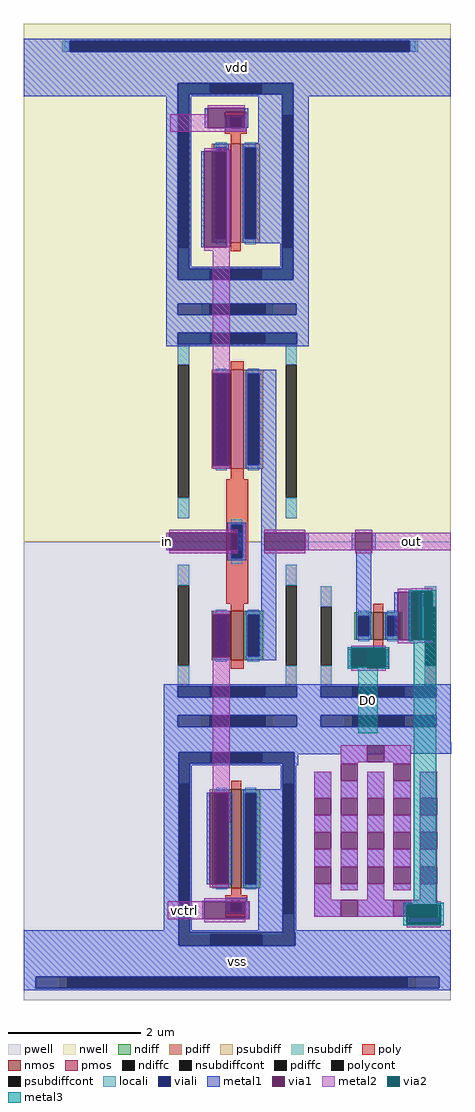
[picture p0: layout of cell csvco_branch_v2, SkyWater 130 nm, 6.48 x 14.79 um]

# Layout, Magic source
magic
tech sky130A
magscale 1 2
<< nwell >>
rect -363 387 931 1955
<< pwell >>
rect -363 -680 931 387
rect -363 -771 162 -680
rect 184 -771 931 -680
rect -363 -1002 931 -771
<< psubdiff >>
rect 608 -174 632 -140
rect 790 -174 814 -140
rect -255 -966 -231 -932
rect 799 -966 823 -932
<< nsubdiff >>
rect -247 1871 -223 1905
rect 807 1871 831 1905
<< psubdiffcont >>
rect 632 -174 790 -140
rect -231 -966 799 -932
<< nsubdiffcont >>
rect -223 1871 807 1905
<< locali >>
rect -239 1871 -223 1905
rect 807 1871 823 1905
<< viali >>
rect -223 1871 807 1905
rect 104 1742 454 1776
rect 104 1214 138 1742
rect 420 1214 454 1742
rect 104 1180 454 1214
rect 536 -85 886 -51
rect 536 -174 632 -140
rect 632 -174 790 -140
rect 790 -174 886 -140
rect 106 -285 456 -251
rect 106 -796 140 -285
rect 422 -796 456 -285
rect 106 -837 459 -796
rect -327 -966 -231 -932
rect -231 -966 799 -932
rect 799 -966 895 -932
<< metal1 >>
rect -363 1905 931 1911
rect -363 1871 -223 1905
rect 807 1871 931 1905
rect -363 1776 931 1871
rect -363 1736 104 1776
rect 68 1180 104 1736
rect 138 1736 420 1742
rect 138 1220 144 1736
rect 185 1641 195 1699
rect 307 1641 317 1699
rect 247 1630 311 1641
rect 347 1595 420 1736
rect 174 1278 184 1569
rect 252 1278 262 1569
rect 342 1291 420 1595
rect 414 1220 420 1291
rect 138 1214 420 1220
rect 454 1736 931 1776
rect 454 1180 500 1736
rect 68 1108 500 1180
rect 209 897 261 907
rect 209 607 261 617
rect 68 361 78 413
rect 286 361 296 413
rect 356 361 366 413
rect 490 361 500 413
rect 631 361 641 413
rect 693 361 703 413
rect 209 167 261 177
rect 644 173 690 361
rect 760 89 770 234
rect 831 89 841 234
rect 209 27 261 37
rect 619 8 629 60
rect 733 8 743 60
rect 61 -174 81 -45
rect 500 -51 931 -45
rect 500 -85 536 -51
rect 886 -85 931 -51
rect 500 -140 931 -85
rect 500 -174 536 -140
rect 886 -174 931 -140
rect 61 -220 931 -174
rect 61 -251 932 -220
rect 61 -790 106 -251
rect 456 -256 932 -251
rect 456 -257 737 -256
rect -363 -837 106 -790
rect 140 -291 422 -285
rect 140 -790 146 -291
rect 416 -364 422 -291
rect 191 -651 201 -374
rect 258 -651 268 -374
rect 249 -701 313 -692
rect 178 -704 313 -701
rect 178 -756 184 -704
rect 308 -756 318 -704
rect 347 -790 422 -364
rect 140 -796 422 -790
rect 456 -291 468 -257
rect 456 -790 462 -291
rect 456 -796 931 -790
rect 459 -837 931 -796
rect -363 -932 931 -837
rect -363 -966 -327 -932
rect 895 -966 931 -932
rect -363 -972 931 -966
<< via1 >>
rect 195 1641 307 1699
rect 184 1278 252 1569
rect 209 617 261 897
rect 78 361 286 413
rect 366 361 490 413
rect 641 361 693 413
rect 209 37 261 167
rect 770 89 831 234
rect 629 8 733 60
rect 201 -651 258 -374
rect 184 -756 308 -704
<< metal2 >>
rect 195 1699 307 1709
rect 80 1641 195 1682
rect 307 1641 312 1682
rect 80 1629 312 1641
rect 184 1574 252 1579
rect 184 1569 261 1574
rect 252 1278 261 1569
rect 184 1268 261 1278
rect 209 897 261 1268
rect 209 607 261 617
rect 78 413 286 423
rect 68 361 78 413
rect 78 351 286 361
rect 366 413 490 423
rect 641 413 693 423
rect 490 361 641 413
rect 693 361 931 413
rect 366 351 490 361
rect 641 351 693 361
rect 813 244 874 245
rect 770 235 874 244
rect 770 234 813 235
rect 209 167 261 177
rect 831 89 874 90
rect 770 80 874 89
rect 770 79 831 80
rect 209 -364 261 37
rect 629 62 733 72
rect 629 -4 733 6
rect 201 -374 261 -364
rect 258 -463 261 -374
rect 201 -661 258 -651
rect 184 -703 308 -694
rect 699 -703 886 -702
rect 73 -704 321 -703
rect 73 -756 184 -704
rect 308 -756 321 -704
rect 699 -713 900 -703
rect 699 -748 797 -713
rect 73 -758 321 -756
rect 184 -766 308 -758
rect 797 -781 900 -771
<< via2 >>
rect 813 234 874 235
rect 813 90 831 234
rect 831 90 874 234
rect 629 60 733 62
rect 629 8 733 60
rect 629 6 733 8
rect 797 -771 900 -713
<< metal3 >>
rect 803 239 884 240
rect 803 235 886 239
rect 803 90 813 235
rect 874 90 886 235
rect 803 85 886 90
rect 619 62 743 67
rect 619 6 629 62
rect 733 6 743 62
rect 619 1 743 6
rect 650 -194 710 1
rect 819 -708 886 85
rect 787 -713 910 -708
rect 787 -771 797 -713
rect 900 -771 910 -713
rect 787 -776 910 -771
use cap_vco  cap_vco_0
transform 1 0 -37 0 1 -744
box 554 -6 926 514
use sky130_fd_pr__nfet_01v8_EDT3AT  sky130_fd_pr__nfet_01v8_EDT3AT_0
transform 1 0 711 0 1 100
box -211 -221 211 221
use sky130_fd_pr__nfet_01v8_CBSTVW  sky130_fd_pr__nfet_01v8_CBSTVW_0
transform 1 0 281 0 1 -544
box -211 -329 211 329
use inverter_csvco  inverter_csvco_0
transform 1 0 68 0 1 387
box 0 -597 432 757
use sky130_fd_pr__pfet_01v8_MJP3BN  sky130_fd_pr__pfet_01v8_MJP3BN_0
transform 1 0 279 0 1 1478
box -211 -334 211 334
<< labels >>
rlabel metal2 68 361 78 413 1 in
rlabel metal3 650 -194 710 6 1 D0
rlabel metal2 693 361 931 413 1 out
rlabel metal2 73 -758 177 -703 1 vctrl
rlabel metal1 -363 1776 931 1871 1 vdd
rlabel metal1 -363 -932 931 -837 1 vss
<< end >>

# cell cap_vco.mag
magic
tech sky130A
<< metal1 >>
rect 317 231 357 257
rect 383 231 423 257
rect 317 229 343 231
rect 277 177 303 217
rect 277 125 303 151
rect 277 73 303 99
rect 277 23 303 47
rect 397 229 423 231
rect 317 177 343 203
rect 317 125 343 151
rect 317 73 343 99
rect 317 37 343 47
rect 357 177 383 217
rect 357 125 383 151
rect 357 73 383 99
rect 357 23 383 47
rect 397 177 423 203
rect 397 125 423 151
rect 397 73 423 99
rect 397 37 423 47
rect 437 177 463 217
rect 437 125 463 151
rect 437 73 463 99
rect 437 23 463 47
rect 277 -3 317 23
rect 343 -3 397 23
rect 423 -3 463 23
<< via1 >>
rect 357 231 383 257
rect 277 151 303 177
rect 277 99 303 125
rect 277 47 303 73
rect 317 203 343 229
rect 317 151 343 177
rect 317 99 343 125
rect 317 47 343 73
rect 357 151 383 177
rect 357 99 383 125
rect 357 47 383 73
rect 397 203 423 229
rect 397 151 423 177
rect 397 99 423 125
rect 397 47 423 73
rect 437 151 463 177
rect 437 99 463 125
rect 437 47 463 73
rect 317 -3 343 23
rect 397 -3 423 23
<< metal2 >>
rect 317 231 357 257
rect 383 231 423 257
rect 317 229 343 231
rect 277 177 303 217
rect 277 125 303 151
rect 277 73 303 99
rect 277 23 303 47
rect 397 229 423 231
rect 317 177 343 203
rect 317 125 343 151
rect 317 73 343 99
rect 317 37 343 47
rect 357 177 383 217
rect 357 125 383 151
rect 357 73 383 99
rect 357 23 383 47
rect 397 177 423 203
rect 397 125 423 151
rect 397 73 423 99
rect 397 37 423 47
rect 437 177 463 217
rect 437 125 463 151
rect 437 73 463 99
rect 437 23 463 47
rect 277 -3 317 23
rect 343 -3 397 23
rect 423 -3 463 23
<< labels >>
rlabel via1 357 231 383 257 1 b
rlabel metal2 357 -3 383 23 1 t
<< end >>

# cell sky130_fd_pr__nfet_01v8_EDT3AT: kit device sky130_fd_pr__nfet_01v8, w 0.420 l 0.150 m 1 nf 1 diffcov 100 polycov 100 guard 1 glc 1 grc 1 gtc 0 gbc 1 tbcov 100 rlcov 100 topc 0 botc 1 poverlap 0 doverlap 1 lmin 0.15 wmin 0.42 compatible {sky130_fd_pr__nfet_01v8 sky130_fd_pr__nfet_01v8_lvt sky130_fd_bs_flash__special_sonosfet_star sky130_fd_pr__nfet_g5v0d10v5 sky130_fd_pr__nfet_05v0_nvt sky130_fd_pr__nfet_03v3_nvt} full_metal 1 viasrc 100 viadrn 100 viagate 100 viagb 0 viagr 0 viagl 0 viagt 0

# cell sky130_fd_pr__nfet_01v8_CBSTVW: kit device sky130_fd_pr__nfet_01v8, w 1.5 l 0.150 m 1 nf 1 diffcov 100 polycov 100 guard 1 glc 1 grc 1 gtc 1 gbc 1 tbcov 100 rlcov 100 topc 0 botc 1 poverlap 0 doverlap 1 lmin 0.15 wmin 0.42 compatible {sky130_fd_pr__nfet_01v8 sky130_fd_pr__nfet_01v8_lvt sky130_fd_bs_flash__special_sonosfet_star sky130_fd_pr__nfet_g5v0d10v5 sky130_fd_pr__nfet_05v0_nvt sky130_fd_pr__nfet_03v3_nvt} full_metal 1 viasrc 100 viadrn 100 viagate 100 viagb 0 viagr 0 viagl 0 viagt 0

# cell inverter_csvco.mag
magic
tech sky130A
magscale 1 2
<< nwell >>
rect 0 668 432 757
rect 197 47 231 131
<< pwell >>
rect 0 -508 430 -438
rect 0 -597 432 -508
<< psubdiff >>
rect 108 -561 132 -527
rect 300 -561 324 -527
<< nsubdiff >>
rect 108 687 132 721
rect 300 687 324 721
<< psubdiffcont >>
rect 132 -561 300 -527
<< nsubdiffcont >>
rect 132 687 300 721
<< poly >>
rect 183 51 249 131
rect 183 -51 197 51
rect 231 -51 249 51
rect 183 -122 249 -51
<< polycont >>
rect 197 -51 231 51
<< locali >>
rect 197 51 231 67
rect 197 -67 231 -51
<< viali >>
rect 35 687 132 721
rect 132 687 300 721
rect 300 687 395 721
rect 36 598 396 632
rect 197 -51 231 51
rect 36 -472 396 -438
rect 36 -561 132 -527
rect 132 -561 300 -527
rect 300 -561 396 -527
<< metal1 >>
rect 0 721 432 727
rect 0 687 35 721
rect 395 687 432 721
rect 0 632 432 687
rect 0 598 36 632
rect 396 598 432 632
rect 0 592 432 598
rect 144 220 190 520
rect 185 51 243 57
rect 185 26 197 51
rect 0 -26 197 26
rect 185 -51 197 -26
rect 231 -51 243 51
rect 185 -57 243 -51
rect 288 26 334 520
rect 288 -26 432 26
rect 144 -360 190 -210
rect 288 -360 334 -26
rect 0 -438 432 -432
rect 0 -472 36 -438
rect 396 -472 432 -438
rect 0 -527 432 -472
rect 0 -561 36 -527
rect 396 -561 432 -527
rect 0 -567 432 -561
use sky130_fd_pr__nfet_01v8_AQR2CW  sky130_fd_pr__nfet_01v8_AQR2CW_0
transform 1 0 216 0 1 -254
box -216 -254 216 254
use sky130_fd_pr__pfet_01v8_HRYSXS  sky130_fd_pr__pfet_01v8_HRYSXS_0
transform 1 0 216 0 1 334
box -216 -334 216 334
<< labels >>
rlabel metal1 0 -26 197 26 1 in
rlabel metal1 288 -26 432 26 1 out
rlabel metal1 0 632 432 687 1 vbulkp
rlabel metal1 0 -527 432 -472 1 vbulkn
rlabel metal1 144 220 190 520 1 vdd
rlabel metal1 144 -360 190 -210 1 vss
<< end >>

# cell sky130_fd_pr__pfet_01v8_MJP3BN: kit device sky130_fd_pr__pfet_01v8, w 1.5 l 0.15 m 1 nf 1 diffcov 100 polycov 100 guard 1 glc 1 grc 1 gtc 1 gbc 1 tbcov 100 rlcov 100 topc 1 botc 0 poverlap 0 doverlap 1 lmin 0.15 wmin 0.42 compatible {sky130_fd_pr__pfet_01v8 sky130_fd_pr__pfet_01v8_lvt sky130_fd_pr__pfet_01v8_hvt sky130_fd_pr__pfet_g5v0d10v5} full_metal 1 viasrc 100 viadrn 100 viagate 100 viagb 0 viagr 0 viagl 0 viagt 0

# cell sky130_fd_pr__nfet_01v8_AQR2CW: kit device sky130_fd_pr__nfet_01v8, w 0.75 l 0.2 m 1 nf 1 diffcov 100 polycov 100 guard 1 glc 1 grc 1 gtc 0 gbc 1 tbcov 100 rlcov 100 topc 1 botc 0 poverlap 0 doverlap 1 lmin 0.15 wmin 0.42 compatible {sky130_fd_pr__nfet_01v8 sky130_fd_pr__nfet_01v8_lvt sky130_fd_bs_flash__special_sonosfet_star sky130_fd_pr__nfet_g5v0d10v5 sky130_fd_pr__nfet_05v0_nvt sky130_fd_pr__nfet_03v3_nvt} full_metal 1 viasrc 100 viadrn 100 viagate 100 viagb 0 viagr 0 viagl 0 viagt 0

# cell sky130_fd_pr__pfet_01v8_HRYSXS: kit device sky130_fd_pr__pfet_01v8, w 1.5 l 0.2 m 1 nf 1 diffcov 100 polycov 100 guard 1 glc 1 grc 1 gtc 1 gbc 0 tbcov 100 rlcov 100 topc 0 botc 1 poverlap 0 doverlap 1 lmin 0.15 wmin 0.42 compatible {sky130_fd_pr__pfet_01v8 sky130_fd_pr__pfet_01v8_lvt sky130_fd_pr__pfet_01v8_hvt sky130_fd_pr__pfet_g5v0d10v5} full_metal 1 viasrc 100 viadrn 100 viagate 100 viagb 0 viagr 0 viagl 0 viagt 0
